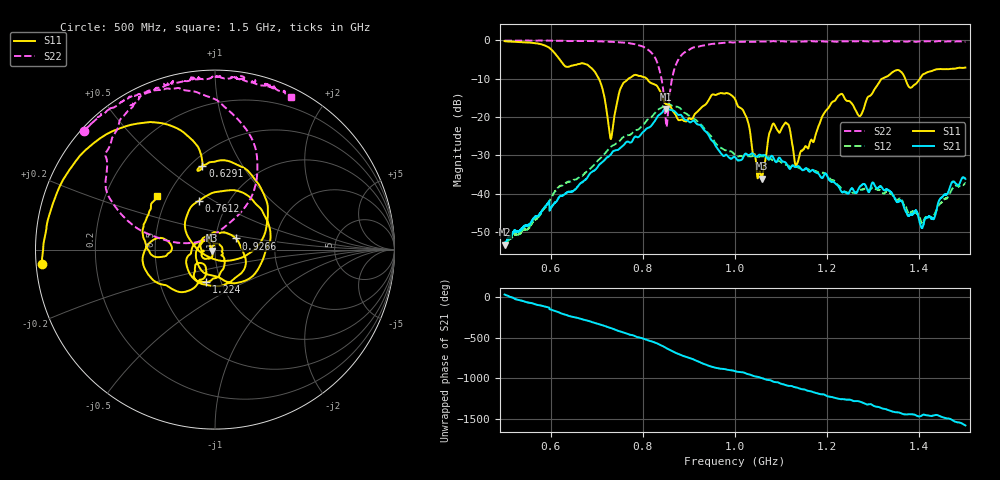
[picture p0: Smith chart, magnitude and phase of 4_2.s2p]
!Agilent Technologies,E8364B,US42250235,A.06.04.32
!Agilent E8364B: A.06.04.32
!Date: Thursday, October 01, 2020 11:03:43
!Correction: S11(Full 2 Port(1,2)) S21(Full 2 Port(1,2)) S12(Full 2 Port(1,2)) S22(Full 2 Port(1,2))
!S2P File: Measurements: S11, S21, S12, S22:
# Hz S  dB  R 50
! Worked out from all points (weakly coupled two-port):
!   2650 points, 500 MHz to 1.5 GHz, reference 50 ohm
!   highest |S21| = -17.89 dB at 849.2 MHz (marker M1); lowest = -53.2 dB at 500.4 MHz (marker M2)
!   lowest |S11| = -36.1 dB at 1.058 GHz (marker M3), VSWR 1.03, Z = 48.5 - j0.504 ohm
!   |S11| at or under -10 dB: 704.2 MHz to 769.2 MHz (64.97 MHz wide, 8.82 % of centre); 808.4 MHz to 1.32 GHz (511.4 MHz wide, 48.1 % of centre); 1.369 GHz to 1.402 GHz (32.38 MHz wide, 2.34 % of centre)
!   |S22| runs from -22.6 to -0.1 dB; largest |S21 - S12| = 0.031
!   S11 on the Smith chart (normalised r, x): 500 MHz: 0.02, -0.04; 629.1 MHz: 0.57, +0.68; 761.2 MHz: 0.73, +0.43; 926.6 MHz: 1.25, +0.16; 1.224 GHz: 0.85, -0.32; 1.5 GHz: 0.44, +0.32
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5e8  -0.27 -175.4  -53.06 26.7  -53.37 16.2  -0.14 137.7
5.003775e8  -0.27 -175.6  -53.18 25.5  -53.59 17.4  -0.14 137.7
5.872027e8  -1.41 126.3  -43.41 -120.9  -43.59 -124.5  -0.16 130.3
6.291053e8  -6.54 98.6  -40.18 144.4  -37.40 152.5  -0.20 126.2
6.668554e8  -6.04 85.9  -37.06 85.7  -35.30 87.7  -0.24 119.3
7.061155e8  -10.44 20.2  -32.30 21.9  -30.93 27.6  -0.31 116.1
7.302756e8  -25.72 -110.7  -29.82 -23.1  -27.77 -17.4  -0.43 111.2
7.612307e8  -10.85 108.1  -26.90 -83.1  -24.92 -78.9  -0.68 103.5
8.337108e8  -12.47 -47.7  -19.60 140.1  -18.04 134.3  -6.75 59.6
8.491884e8  -16.54 -88.3  -17.89 95.7  -16.55 91.8  -19.91 78.9
8.763684e8  -20.67 169.8  -19.43 21.7  -17.38 17.0  -5.23 159.9
9.265761e8  -17.60 28.1  -22.36 -89.9  -21.99 -97.5  -1.51 133.3
1.000189e9  -15.36 -159.9  -30.44 166.1  -29.84 156.1  -0.58 117.4
1.057569e9  -36.07 -160.7  -29.99 83.9  -30.24 80.2  -0.38 109.8
1.082861e9  -21.70 -149.4  -30.51 39.6  -31.27 38.2  -0.26 106.5
1.133447e9  -32.57 115.2  -32.97 -32.1  -33.01 -33.8  -0.39 100.5
1.166667e9  -25.99 -38.2  -33.79 -81.8  -33.71 -82.2  -0.28 98.3
1.224047e9  -14.51 -105.8  -38.01 -169.5  -37.79 -171.2  -0.38 91.3
1.271234e9  -19.78 -125.6  -38.11 153.8  -38.96 148.4  -0.28 88.0
1.333522e9  -9.20 -145.5  -39.13 49.2  -39.70 56.0  -0.26 80.3
1.405625e9  -9.25 -173.9  -48.79 -14.9  -47.60 -14.9  -0.30 73.1
1.5e9  -7.14 137.6  -36.10 -137.3  -37.21 -121.0  -0.44 63.6
